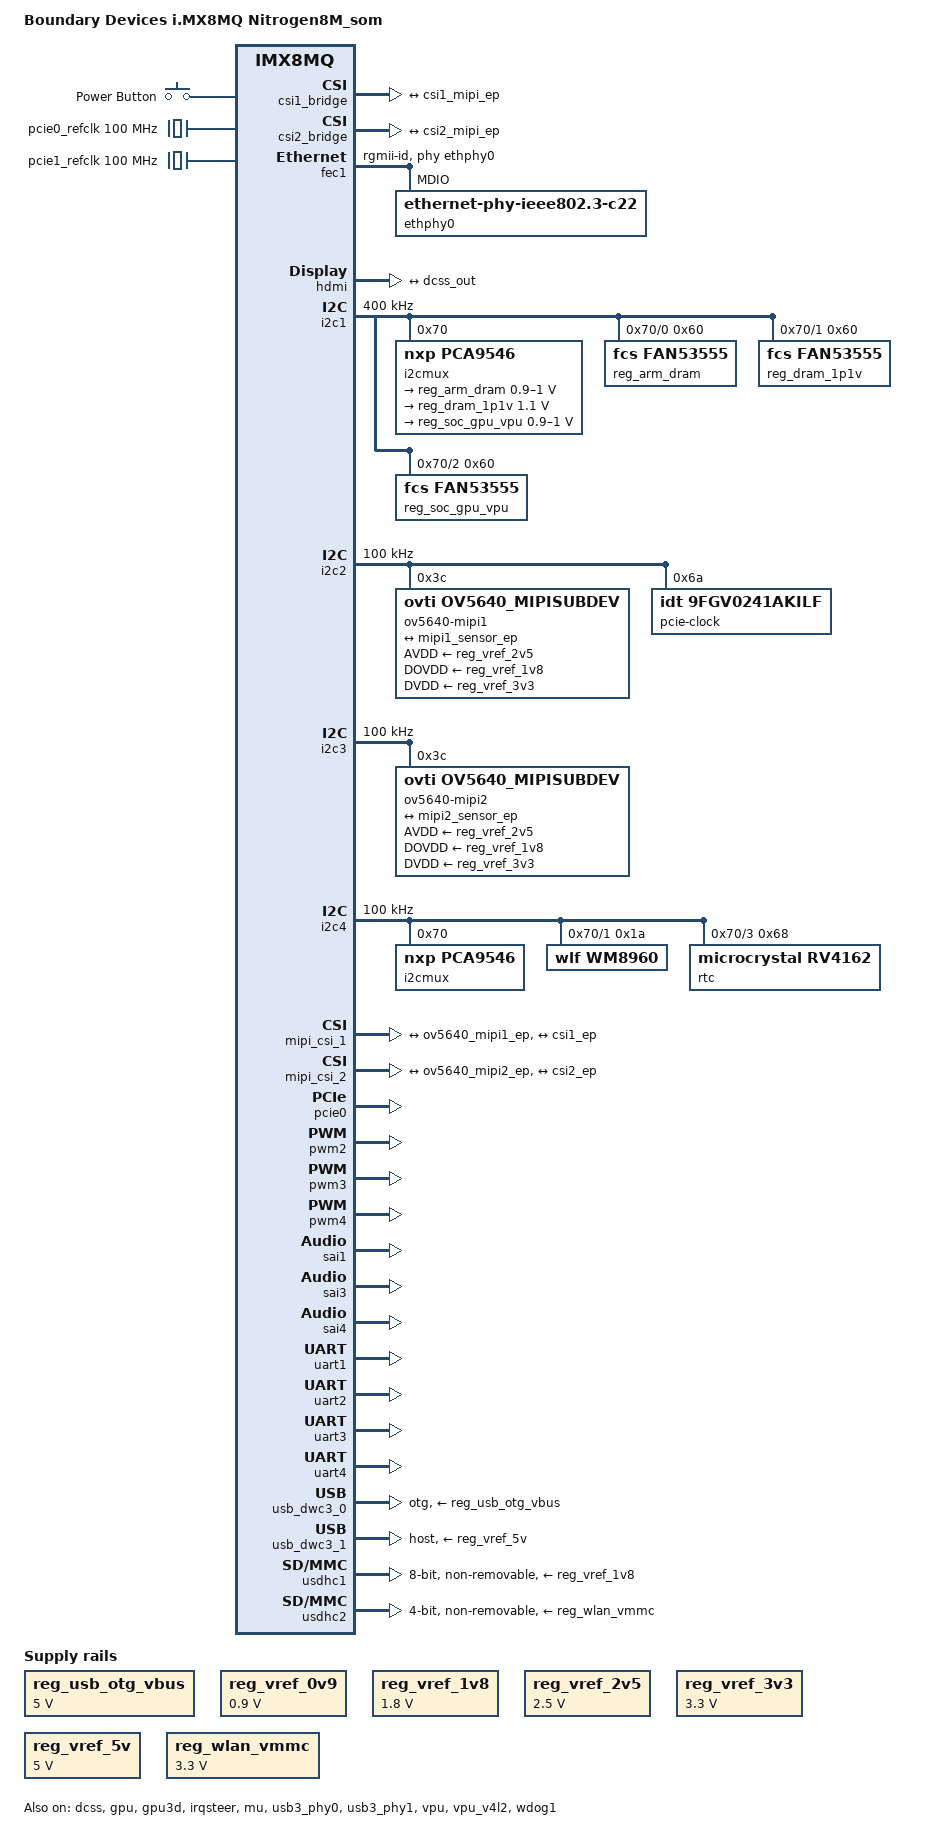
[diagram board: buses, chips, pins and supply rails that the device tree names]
// SPDX-License-Identifier: (GPL-2.0+ OR MIT)
/*
 * Copyright 2018 Boundary Devices
 */

/dts-v1/;

#include "imx8mq.dtsi"

&iomuxc {
	pinctrl-names = "default";
	pinctrl-0 = <&pinctrl_hog>;

	pinctrl_bt_rfkill: bt-rfkillgrp {
		fsl,pins = <
#define GP_BT_RFKILL_RESET	<&gpio3 19 GPIO_ACTIVE_LOW>
			MX8MQ_IOMUXC_SAI5_RXFS_GPIO3_IO19		0x19
		>;
	};

	pinctrl_ecspi2: ecspi2grp {
		fsl,pins = <
			/* unused on our carrier */
#define GP_ECSPI2_CS0	<&gpio5 13 GPIO_ACTIVE_LOW>
			MX8MQ_IOMUXC_ECSPI2_SS0_GPIO5_IO13		0x19	/* Pin 89 */
			MX8MQ_IOMUXC_ECSPI2_MOSI_ECSPI2_MOSI		0x19	/* Pin 91 */
			MX8MQ_IOMUXC_ECSPI2_MISO_ECSPI2_MISO		0x19	/* Pin 93 */
			MX8MQ_IOMUXC_ECSPI2_SCLK_ECSPI2_SCLK		0x19	/* Pin 97 */
		>;
	};

	pinctrl_fec1: fec1grp {
		fsl,pins = <
			MX8MQ_IOMUXC_ENET_MDC_ENET1_MDC			0x3
			MX8MQ_IOMUXC_ENET_MDIO_ENET1_MDIO		0x23
			MX8MQ_IOMUXC_ENET_TX_CTL_ENET1_RGMII_TX_CTL	0x1f
			MX8MQ_IOMUXC_ENET_TXC_ENET1_RGMII_TXC		0x1f
			MX8MQ_IOMUXC_ENET_TD0_ENET1_RGMII_TD0		0x1f
			MX8MQ_IOMUXC_ENET_TD1_ENET1_RGMII_TD1		0x1f
			MX8MQ_IOMUXC_ENET_TD2_ENET1_RGMII_TD2		0x1f
			MX8MQ_IOMUXC_ENET_TD3_ENET1_RGMII_TD3		0x1f
			MX8MQ_IOMUXC_ENET_RX_CTL_ENET1_RGMII_RX_CTL	0x91
			MX8MQ_IOMUXC_ENET_RXC_ENET1_RGMII_RXC		0x91
			MX8MQ_IOMUXC_ENET_RD0_ENET1_RGMII_RD0		0x91
			MX8MQ_IOMUXC_ENET_RD1_ENET1_RGMII_RD1		0x91
			MX8MQ_IOMUXC_ENET_RD2_ENET1_RGMII_RD2		0x91
			MX8MQ_IOMUXC_ENET_RD3_ENET1_RGMII_RD3		0x91
#define GP_FEC1_RESET	<&gpio1 9 GPIO_ACTIVE_LOW>
			MX8MQ_IOMUXC_GPIO1_IO09_GPIO1_IO9		0x19
#define GPIRQ_FEC1_PHY	<&gpio1 11 IRQ_TYPE_LEVEL_LOW>
			MX8MQ_IOMUXC_GPIO1_IO11_GPIO1_IO11		0x59
		>;
	};

	pinctrl_gpio_keys: gpio-keysgrp {
		fsl,pins = <
#define GP_GPIOKEY_POWER	<&gpio1 7 GPIO_ACTIVE_LOW>
			MX8MQ_IOMUXC_GPIO1_IO07_GPIO1_IO7		0x19	/* Pin 139 */
		>;
	};

	pinctrl_hog: hoggrp {
		fsl,pins = <
			/* J1 connector, odd */
			MX8MQ_IOMUXC_GPIO1_IO10_GPIO1_IO10		0x19	/* Pin 105 */
			MX8MQ_IOMUXC_GPIO1_IO05_GPIO1_IO5		0x19	/* Pin 143 */
			MX8MQ_IOMUXC_GPIO1_IO03_GPIO1_IO3		0x19	/* Pin 145 */
			MX8MQ_IOMUXC_NAND_CE3_B_GPIO3_IO4		0x19	/* Pin 149 */
			MX8MQ_IOMUXC_NAND_READY_B_GPIO3_IO16		0x19	/* Pin 153 */
			MX8MQ_IOMUXC_NAND_DATA05_GPIO3_IO11		0x19	/* Pin 155 */
			MX8MQ_IOMUXC_NAND_WP_B_GPIO3_IO18		0x19	/* Pin 157 */

			/* J1 connector, even */
			MX8MQ_IOMUXC_NAND_DATA04_GPIO3_IO10		0x19	/* Pin 82 */
			MX8MQ_IOMUXC_NAND_DATA03_GPIO3_IO9		0x19	/* Pin 84 */
			MX8MQ_IOMUXC_NAND_DATA02_GPIO3_IO8		0x19	/* Pin 86 */
			MX8MQ_IOMUXC_NAND_DATA01_GPIO3_IO7		0x19	/* Pin 88 */
			MX8MQ_IOMUXC_NAND_DATA00_GPIO3_IO6		0x19	/* Pin 90 */
			MX8MQ_IOMUXC_NAND_CE0_B_GPIO3_IO1		0x19	/* Pin 92 */
			MX8MQ_IOMUXC_NAND_ALE_GPIO3_IO0			0x19	/* Pin 96 */
			MX8MQ_IOMUXC_SAI1_TXD1_GPIO4_IO13		0x19	/* Pin 132 */
			MX8MQ_IOMUXC_SAI1_TXD2_GPIO4_IO14		0x19	/* Pin 134 */
			MX8MQ_IOMUXC_SAI1_TXD3_GPIO4_IO15		0x19	/* Pin 136 */
			MX8MQ_IOMUXC_SAI1_TXD4_GPIO4_IO16		0x19	/* Pin 138 */
			MX8MQ_IOMUXC_SAI1_TXD5_GPIO4_IO17		0x19	/* Pin 140 */
			MX8MQ_IOMUXC_SAI1_TXD6_GPIO4_IO18		0x19	/* Pin 142 */
			MX8MQ_IOMUXC_SAI1_TXD7_GPIO4_IO19		0x19	/* Pin 144 */
			MX8MQ_IOMUXC_SAI1_RXD1_GPIO4_IO3		0x19	/* Pin 146 */
			MX8MQ_IOMUXC_SAI1_RXD2_GPIO4_IO4		0x19	/* Pin 148 */
			MX8MQ_IOMUXC_SAI1_RXD3_GPIO4_IO5		0x19	/* Pin 150 */
			MX8MQ_IOMUXC_SAI1_RXD4_GPIO4_IO6		0x19	/* Pin 152 */
			MX8MQ_IOMUXC_SAI1_RXD5_GPIO4_IO7		0x19	/* Pin 154 */
			MX8MQ_IOMUXC_SAI1_RXD6_GPIO4_IO8		0x19	/* Pin 156 */
			MX8MQ_IOMUXC_SAI1_RXD7_GPIO4_IO9		0x19	/* Pin 158 */
			MX8MQ_IOMUXC_SAI1_RXC_GPIO4_IO1			0x19	/* Pin 160 */
			MX8MQ_IOMUXC_SAI1_RXFS_GPIO4_IO0		0x19	/* Pin 162 */
			MX8MQ_IOMUXC_SAI3_RXFS_GPIO4_IO28		0x19	/* Pin 198 */
			MX8MQ_IOMUXC_SAI3_RXC_GPIO4_IO29		0x19	/* Pin 200 */

			/* J13 Pin 2, BT_FUNC5 (TiWI only) */
			MX8MQ_IOMUXC_SAI5_RXD2_GPIO3_IO23		0xd6
			/* J13 Pin 4, WL_IRQ, not needed for Silex */
			MX8MQ_IOMUXC_SAI5_RXD0_GPIO3_IO21		0xd6
			/* J13 pin 9, SD2_CD */
			MX8MQ_IOMUXC_SD2_CD_B_GPIO2_IO12		0x41
			/* J13 Pin 41, BT_CLK_REQ */
			MX8MQ_IOMUXC_SAI5_RXD1_GPIO3_IO22		0xd6
			/* J13 Pin 42, BT_HOST_WAKE */
			MX8MQ_IOMUXC_SAI5_MCLK_GPIO3_IO25		0xd6
			MX8MQ_IOMUXC_SPDIF_EXT_CLK_GPIO5_IO5		0x19	/* TP79 */
			MX8MQ_IOMUXC_GPIO1_IO08_GPIO1_IO8		0x49	/* TP80 */

			/* Clock for both CSI1 and CSI2 */
			MX8MQ_IOMUXC_GPIO1_IO15_CCMSRCGPCMIX_CLKO2	0x07
		>;
	};

	pinctrl_i2c1: i2c1grp {
		fsl,pins = <
			MX8MQ_IOMUXC_I2C1_SCL_I2C1_SCL			0x4000007f
			MX8MQ_IOMUXC_I2C1_SDA_I2C1_SDA			0x4000007f
		>;
	};

	pinctrl_i2c1_1: i2c1_1grp {
		fsl,pins = <
#define GP_I2C1_SCL	<&gpio5 14 GPIO_OPEN_DRAIN>
			MX8MQ_IOMUXC_I2C1_SCL_GPIO5_IO14		0x4000007f
#define GP_I2C1_SDA	<&gpio5 15 GPIO_OPEN_DRAIN>
			MX8MQ_IOMUXC_I2C1_SDA_GPIO5_IO15		0x4000007f
		>;
	};

	pinctrl_i2c1_pca9546: i2c1-pca9546grp {
		fsl,pins = <
#define GP_I2C1_PCA9546_RESET	<&gpio1 4 GPIO_ACTIVE_LOW>
			MX8MQ_IOMUXC_GPIO1_IO04_GPIO1_IO4		0x46
		>;
	};

	pinctrl_i2c1d_gt911: i2c1d-gt911grp {
		fsl,pins = <
#define GPIRQ_GT911 		<&gpio3 12 IRQ_TYPE_LEVEL_HIGH>
#define GP_GT911_IRQ 		<&gpio3 12 GPIO_ACTIVE_HIGH>
			MX8MQ_IOMUXC_NAND_DATA06_GPIO3_IO12		0xd6
			/* driver writes levels, instead of active/inactive */
#define GP_GT911_RESET		<&gpio3 13 GPIO_ACTIVE_HIGH>
			MX8MQ_IOMUXC_NAND_DATA07_GPIO3_IO13		0x49
		>;
	};

	pinctrl_i2c1d_ft5x06: i2c1d-ft5x06grp {
		fsl,pins = <
#define GPIRQ_I2C1D_FT5X06	<&gpio3 12 IRQ_TYPE_EDGE_FALLING>
#define GP_I2C1D_FT5X06_WAKE	<&gpio3 12 GPIO_ACTIVE_LOW>
			MX8MQ_IOMUXC_NAND_DATA06_GPIO3_IO12		0x49
#define GP_I2C1D_FT5X06_RESET	<&gpio3 13 GPIO_ACTIVE_LOW>
			MX8MQ_IOMUXC_NAND_DATA07_GPIO3_IO13		0x49
		>;
	};

	pinctrl_i2c1d_sn65dsi83: i2c1d-sn65dsi83grp {
		fsl,pins = <
#define GPIRQ_I2C1D_SN65DSI83	<&gpio1 1 IRQ_TYPE_LEVEL_HIGH>
			MX8MQ_IOMUXC_GPIO1_IO01_GPIO1_IO1		0x04
#define GP_I2C1D_SN65DSI83_EN	<&gpio3 15 GPIO_ACTIVE_HIGH>
			MX8MQ_IOMUXC_NAND_RE_B_GPIO3_IO15		0x06
		>;
	};

	pinctrl_i2c1d_st1633: i2c1d-st1633grp {
		fsl,pins = <
#define GPIRQ_ST1633 		<&gpio3 12 IRQ_TYPE_EDGE_FALLING>
#define GP_ST1633_IRQ 		<&gpio3 12 GPIO_ACTIVE_LOW>
			MX8MQ_IOMUXC_NAND_DATA06_GPIO3_IO12		0xd6
#define GP_ST1633_RESET		<&gpio3 13 GPIO_ACTIVE_LOW>
			MX8MQ_IOMUXC_NAND_DATA07_GPIO3_IO13		0x49
		>;
	};

	pinctrl_i2c2: i2c2grp {
		fsl,pins = <
			MX8MQ_IOMUXC_I2C2_SCL_I2C2_SCL			0x4000007f
			MX8MQ_IOMUXC_I2C2_SDA_I2C2_SDA			0x4000007f
		>;
	};

	pinctrl_i2c2_1: i2c2_1grp {
		fsl,pins = <
#define GP_I2C2_SCL	<&gpio5 16 GPIO_OPEN_DRAIN>
			MX8MQ_IOMUXC_I2C2_SCL_GPIO5_IO16		0x4000007f
#define GP_I2C2_SDA	<&gpio5 17 GPIO_OPEN_DRAIN>
			MX8MQ_IOMUXC_I2C2_SDA_GPIO5_IO17		0x4000007f
		>;
	};

	pinctrl_i2c2_csi1: i2c2-csi1grp {
		fsl,pins = <
#define GP_CSI1_MIPI_PWDN	<&gpio3 3 GPIO_ACTIVE_HIGH>
			MX8MQ_IOMUXC_NAND_CE2_B_GPIO3_IO3		0x61
#define GP_CSI1_MIPI_RESET	<&gpio3 17 GPIO_ACTIVE_LOW>
			MX8MQ_IOMUXC_NAND_WE_B_GPIO3_IO17		0x61
		>;
	};

	pinctrl_i2c3: i2c3grp {
		fsl,pins = <
			MX8MQ_IOMUXC_I2C3_SCL_I2C3_SCL			0x4000007f
			MX8MQ_IOMUXC_I2C3_SDA_I2C3_SDA			0x4000007f
		>;
	};

	pinctrl_i2c3_1: i2c3_1grp {
		fsl,pins = <
#define GP_I2C3_SCL	<&gpio5 18 GPIO_OPEN_DRAIN>
			MX8MQ_IOMUXC_I2C3_SCL_GPIO5_IO18		0x4000007f
#define GP_I2C3_SDA	<&gpio5 19 GPIO_OPEN_DRAIN>
			MX8MQ_IOMUXC_I2C3_SDA_GPIO5_IO19		0x4000007f
		>;
	};

	pinctrl_i2c3_csi2: i2c3-csi2grp {
		fsl,pins = <
#define GP_CSI2_MIPI_PWDN	<&gpio3 2 GPIO_ACTIVE_HIGH>
			MX8MQ_IOMUXC_NAND_CE1_B_GPIO3_IO2		0x61
#define GP_CSI2_MIPI_RESET	<&gpio2 19 GPIO_ACTIVE_LOW>
			MX8MQ_IOMUXC_SD2_RESET_B_GPIO2_IO19		0x61
		>;
	};

	pinctrl_i2c4: i2c4grp {
		fsl,pins = <
			MX8MQ_IOMUXC_I2C4_SCL_I2C4_SCL			0x4000007f
			MX8MQ_IOMUXC_I2C4_SDA_I2C4_SDA			0x4000007f
		>;
	};

	pinctrl_i2c4_1: i2c4_1grp {
		fsl,pins = <
#define GP_I2C4_SCL	<&gpio5 20 GPIO_OPEN_DRAIN>
			MX8MQ_IOMUXC_I2C4_SCL_GPIO5_IO20		0x4000007f
#define GP_I2C4_SDA	<&gpio5 21 GPIO_OPEN_DRAIN>
			MX8MQ_IOMUXC_I2C4_SDA_GPIO5_IO21		0x4000007f
		>;
	};

	pinctrl_i2c4_pca9546: i2c4-pca9546grp {
		fsl,pins = <
#define GP_I2C4_PCA9546_RESET	<&gpio3 5 GPIO_ACTIVE_LOW>
			MX8MQ_IOMUXC_NAND_CLE_GPIO3_IO5			0x46	/* Pin 151 */
		>;
	};

	pinctrl_i2c4b_wm8960: i2c4b-wm8960grp {
		fsl,pins = <
#define GP_WM8960_HP_DET		<&gpio3 14 GPIO_ACTIVE_HIGH>
			MX8MQ_IOMUXC_NAND_DQS_GPIO3_IO14		0x19	/* Pin 53 */
		>;
	};

	pinctrl_i2c4d_rv4162: i2c4d-rv4162grp {
		fsl,pins = <
#define GPIRQ_RV4162		<&gpio1 6 IRQ_TYPE_LEVEL_LOW>
			MX8MQ_IOMUXC_GPIO1_IO06_GPIO1_IO6		0x49
		>;
	};

	pinctrl_mipi_com50h5n03ulc: mipi-com50h5n03ulcgrp {
		fsl,pins = <
#define GP_MIPI_RESET	<&gpio3 15 GPIO_ACTIVE_LOW>
			MX8MQ_IOMUXC_NAND_RE_B_GPIO3_IO15		0x16
		>;
	};

	pinctrl_mipi_lcm_jm430: mipi-lcm-jm430grp {
		fsl,pins = <
#define GP_TC358762_EN	<&gpio3 15 GPIO_ACTIVE_HIGH>
			MX8MQ_IOMUXC_NAND_RE_B_GPIO3_IO15		0x16
#define GP_JM430_DISPLAY_EN	<&gpio1 1 GPIO_ACTIVE_HIGH>
			MX8MQ_IOMUXC_GPIO1_IO01_GPIO1_IO1		0x06
		>;
	};

	pinctrl_mipi_ltk0680ytmdb: mipi-ltk0680ytmdbgrp {
		fsl,pins = <
#define GP_MIPI_RESET	<&gpio3 15 GPIO_ACTIVE_LOW>
			MX8MQ_IOMUXC_NAND_RE_B_GPIO3_IO15		0x16
		>;
	};

	pinctrl_mipi_ltk080a60a004t: mipi-ltk080a60a004tgrp {
		fsl,pins = <
#define GP_LTK08_MIPI_EN	<&gpio1 1 GPIO_ACTIVE_HIGH>
			MX8MQ_IOMUXC_GPIO1_IO01_GPIO1_IO1		0x16
		>;
	};

	pinctrl_pcie0: pcie0grp {
		fsl,pins = <
#define GP_PCIE0_RESET		<&gpio5 7 GPIO_ACTIVE_LOW>
			MX8MQ_IOMUXC_ECSPI1_MOSI_GPIO5_IO7		0x16
#define GP_PCIE0_DISABLE	<&gpio5 6 GPIO_ACTIVE_LOW>
			MX8MQ_IOMUXC_ECSPI1_SCLK_GPIO5_IO6		0x16
		>;
	};

	pinctrl_pwm2: pwm2grp {
		fsl,pins = <
			MX8MQ_IOMUXC_SPDIF_RX_PWM2_OUT			0x16
		>;
	};

	pinctrl_pwm3: pwm3grp {
		fsl,pins = <
			MX8MQ_IOMUXC_SPDIF_TX_PWM3_OUT			0x16
		>;
	};

	pinctrl_pwm4: pwm4grp {
		fsl,pins = <
			MX8MQ_IOMUXC_SAI3_MCLK_PWM4_OUT			0x16
		>;
	};

	pinctrl_reg_arm_dram: reg-arm-dram {
		fsl,pins = <
#define GP_ARM_DRAM_VSEL	<&gpio3 24 GPIO_ACTIVE_HIGH>
			MX8MQ_IOMUXC_SAI5_RXD3_GPIO3_IO24		0x16
		>;
	};

	pinctrl_reg_dram_1p1v: reg-dram-1p1v {
		fsl,pins = <
#define GP_DRAM_1P1_VSEL	<&gpio2 11 GPIO_ACTIVE_HIGH>
			MX8MQ_IOMUXC_SD1_STROBE_GPIO2_IO11		0x16
		>;
	};

	pinctrl_reg_soc_gpu_vpu: reg-soc-gpu-vpu {
		fsl,pins = <
#define GP_SOC_GPU_VPU_VSEL	<&gpio2 20 GPIO_ACTIVE_HIGH>
			MX8MQ_IOMUXC_SD2_WP_GPIO2_IO20			0x16
		>;
	};

	pinctrl_reg_usbotg_vbus: reg-usbotg-vbusgrp {
		fsl,pins = <
#define GP_REG_USB_OTG_VBUS	<&gpio1 12 GPIO_ACTIVE_HIGH>
			MX8MQ_IOMUXC_GPIO1_IO12_GPIO1_IO12		0x16
		>;
	};

	pinctrl_reg_wlan_vmmc: reg-wlan-vmmcgrp {
		fsl,pins = <
#define GP_REG_WLAN_VMMC	<&gpio3 20 GPIO_ACTIVE_HIGH>
			MX8MQ_IOMUXC_SAI5_RXC_GPIO3_IO20		0x16
		>;
	};

	pinctrl_sai1: sai1grp {
		fsl,pins = <
			/* wm8960 */
			MX8MQ_IOMUXC_SAI1_MCLK_SAI1_MCLK		0xd6
			MX8MQ_IOMUXC_SAI1_TXFS_SAI1_TX_SYNC		0xd6
			MX8MQ_IOMUXC_SAI1_TXC_SAI1_TX_BCLK		0xd6
			MX8MQ_IOMUXC_SAI1_TXD0_SAI1_TX_DATA0		0xd6
			MX8MQ_IOMUXC_SAI1_RXD0_SAI1_RX_DATA0		0xd6
		>;
	};

	pinctrl_sai2: sai2grp {
		fsl,pins = <
			/* our carrier, unused */
			MX8MQ_IOMUXC_SAI2_RXD0_SAI2_RX_DATA0		0xd6	/* Pin 166 */
			MX8MQ_IOMUXC_SAI2_RXFS_SAI2_RX_SYNC		0xd6	/* Pin 168 */
			MX8MQ_IOMUXC_SAI2_TXC_SAI2_TX_BCLK		0xd6	/* Pin 170 */
			MX8MQ_IOMUXC_SAI2_TXFS_SAI2_TX_SYNC		0xd6	/* Pin 172 */
			MX8MQ_IOMUXC_SAI2_RXC_SAI2_RX_BCLK		0xd6	/* Pin 174 */
			MX8MQ_IOMUXC_SAI2_MCLK_SAI2_MCLK		0xd6	/* Pin 176 */
			MX8MQ_IOMUXC_SAI2_TXD0_SAI2_TX_DATA0		0xd6	/* Pin 168 */
		>;
	};

	pinctrl_sai3: sai3grp {
		fsl,pins = <
			/* Bluetooth PCM */
			MX8MQ_IOMUXC_SAI3_TXFS_SAI3_TX_SYNC		0xd6
			MX8MQ_IOMUXC_SAI3_TXC_SAI3_TX_BCLK		0xd6
			MX8MQ_IOMUXC_SAI3_TXD_SAI3_TX_DATA0		0xd6
			MX8MQ_IOMUXC_SAI3_RXD_SAI3_RX_DATA0		0xd6
		>;
	};

	pinctrl_uart1: uart1grp {
		fsl,pins = <
			MX8MQ_IOMUXC_UART1_RXD_UART1_DCE_RX		0x45
			MX8MQ_IOMUXC_UART1_TXD_UART1_DCE_TX		0x45
		>;
	};

	pinctrl_uart2: uart2grp {
		fsl,pins = <
			MX8MQ_IOMUXC_UART2_RXD_UART2_DCE_RX		0x45
			MX8MQ_IOMUXC_UART2_TXD_UART2_DCE_TX		0x45
		>;
	};

	pinctrl_uart3: uart3grp {
		fsl,pins = <
			MX8MQ_IOMUXC_UART3_RXD_UART3_DCE_RX		0x45
			MX8MQ_IOMUXC_UART3_TXD_UART3_DCE_TX		0x45
			MX8MQ_IOMUXC_ECSPI1_SS0_UART3_DCE_RTS_B		0x45
			MX8MQ_IOMUXC_ECSPI1_MISO_UART3_DCE_CTS_B	0x45
		>;
	};

	pinctrl_uart4: uart4grp {
		fsl,pins = <
			MX8MQ_IOMUXC_UART4_RXD_UART4_DCE_RX		0x45
			MX8MQ_IOMUXC_UART4_TXD_UART4_DCE_TX		0x45
		>;
	};

	pinctrl_usb3_0: usb3-0grp {
		fsl,pins = <
			MX8MQ_IOMUXC_GPIO1_IO13_USB1_OTG_OC		0x16
		>;
	};

	pinctrl_usb3_1: usb3-1grp {
		fsl,pins = <
#define GP_USB3_1_HUB_RESET	<&gpio1 14 GPIO_ACTIVE_LOW>
			MX8MQ_IOMUXC_GPIO1_IO14_GPIO1_IO14		0x16
		>;
	};

	pinctrl_usdhc1: usdhc1grp {
		fsl,pins = <
			MX8MQ_IOMUXC_SD1_CLK_USDHC1_CLK			0x83
			MX8MQ_IOMUXC_SD1_CMD_USDHC1_CMD			0xc3
			MX8MQ_IOMUXC_SD1_DATA0_USDHC1_DATA0		0xc3
			MX8MQ_IOMUXC_SD1_DATA1_USDHC1_DATA1		0xc3
			MX8MQ_IOMUXC_SD1_DATA2_USDHC1_DATA2		0xc3
			MX8MQ_IOMUXC_SD1_DATA3_USDHC1_DATA3		0xc3
			MX8MQ_IOMUXC_SD1_DATA4_USDHC1_DATA4		0xc3
			MX8MQ_IOMUXC_SD1_DATA5_USDHC1_DATA5		0xc3
			MX8MQ_IOMUXC_SD1_DATA6_USDHC1_DATA6		0xc3
			MX8MQ_IOMUXC_SD1_DATA7_USDHC1_DATA7		0xc3
#if 0
			MX8MQ_IOMUXC_SD1_RESET_B_USDHC1_RESET_B		0xc1
#else
#define GP_EMMC_RESET		<&gpio2 10 GPIO_ACTIVE_LOW>
			MX8MQ_IOMUXC_SD1_RESET_B_GPIO2_IO10		0x41
#endif
		>;
	};

	pinctrl_usdhc1_100mhz: usdhc1grp100mhz {
		fsl,pins = <
			MX8MQ_IOMUXC_SD1_CLK_USDHC1_CLK			0x8d
			MX8MQ_IOMUXC_SD1_CMD_USDHC1_CMD			0xcd
			MX8MQ_IOMUXC_SD1_DATA0_USDHC1_DATA0		0xcd
			MX8MQ_IOMUXC_SD1_DATA1_USDHC1_DATA1		0xcd
			MX8MQ_IOMUXC_SD1_DATA2_USDHC1_DATA2		0xcd
			MX8MQ_IOMUXC_SD1_DATA3_USDHC1_DATA3		0xcd
			MX8MQ_IOMUXC_SD1_DATA4_USDHC1_DATA4		0xcd
			MX8MQ_IOMUXC_SD1_DATA5_USDHC1_DATA5		0xcd
			MX8MQ_IOMUXC_SD1_DATA6_USDHC1_DATA6		0xcd
			MX8MQ_IOMUXC_SD1_DATA7_USDHC1_DATA7		0xcd
		>;
	};

	pinctrl_usdhc1_200mhz: usdhc1grp200mhz {
		fsl,pins = <
			MX8MQ_IOMUXC_SD1_CLK_USDHC1_CLK			0x9f
			MX8MQ_IOMUXC_SD1_CMD_USDHC1_CMD			0xdf
			MX8MQ_IOMUXC_SD1_DATA0_USDHC1_DATA0		0xdf
			MX8MQ_IOMUXC_SD1_DATA1_USDHC1_DATA1		0xdf
			MX8MQ_IOMUXC_SD1_DATA2_USDHC1_DATA2		0xdf
			MX8MQ_IOMUXC_SD1_DATA3_USDHC1_DATA3		0xdf
			MX8MQ_IOMUXC_SD1_DATA4_USDHC1_DATA4		0xdf
			MX8MQ_IOMUXC_SD1_DATA5_USDHC1_DATA5		0xdf
			MX8MQ_IOMUXC_SD1_DATA6_USDHC1_DATA6		0xdf
			MX8MQ_IOMUXC_SD1_DATA7_USDHC1_DATA7		0xdf
		>;
	};

	pinctrl_usdhc2: usdhc2grp {
		fsl,pins = <
			MX8MQ_IOMUXC_SD2_CLK_USDHC2_CLK			0x03
			MX8MQ_IOMUXC_SD2_CMD_USDHC2_CMD			0xc3
			MX8MQ_IOMUXC_SD2_DATA0_USDHC2_DATA0		0xc3
			MX8MQ_IOMUXC_SD2_DATA1_USDHC2_DATA1		0xc3
			MX8MQ_IOMUXC_SD2_DATA2_USDHC2_DATA2		0xc3
			MX8MQ_IOMUXC_SD2_DATA3_USDHC2_DATA3		0xc3
			/* Bluetooth slow clock */
			MX8MQ_IOMUXC_GPIO1_IO00_ANAMIX_REF_CLK_32K	0x03
		>;
	};

	pinctrl_usdhc2_100mhz: usdhc2grp100mhz {
		fsl,pins = <
			MX8MQ_IOMUXC_SD2_CLK_USDHC2_CLK			0x0d
			MX8MQ_IOMUXC_SD2_CMD_USDHC2_CMD			0xcd
			MX8MQ_IOMUXC_SD2_DATA0_USDHC2_DATA0		0xcd
			MX8MQ_IOMUXC_SD2_DATA1_USDHC2_DATA1		0xcd
			MX8MQ_IOMUXC_SD2_DATA2_USDHC2_DATA2		0xcd
			MX8MQ_IOMUXC_SD2_DATA3_USDHC2_DATA3		0xcd
		>;
	};

	pinctrl_usdhc2_200mhz: usdhc2grp200mhz {
		fsl,pins = <
			MX8MQ_IOMUXC_SD2_CLK_USDHC2_CLK			0x1e
			MX8MQ_IOMUXC_SD2_CMD_USDHC2_CMD			0xce
			MX8MQ_IOMUXC_SD2_DATA0_USDHC2_DATA0		0xce
			MX8MQ_IOMUXC_SD2_DATA1_USDHC2_DATA1		0xce
			MX8MQ_IOMUXC_SD2_DATA2_USDHC2_DATA2		0xce
			MX8MQ_IOMUXC_SD2_DATA3_USDHC2_DATA3		0xce
		>;
	};

	pinctrl_wdog: wdoggrp {
		fsl,pins = <
			MX8MQ_IOMUXC_GPIO1_IO02_WDOG1_WDOG_B		0xc6
		>;
	};
};

#include "panel-com50h5n03ulc.dtsi"
#include "panel-lcm-jm430.dtsi"
#include "panel-ltk0680ytmdb.dtsi"
#include "panel-ltk080a60a004t.dtsi"
#include "panel-m101nwwb.dtsi"

/ {
	model = "Boundary Devices i.MX8MQ Nitrogen8M_som";
	compatible = "boundary,imx8mq-nitrogen8m_som", "fsl,imx8mq";

	aliases {
		backlight_mipi = &backlight_mipi;
		dcss = &dcss;
		fb_mipi = &fb_mipi;
		fb_hdmi = &hdmi;
		lcdif = &lcdif;
		mipi = &fb_mipi;
		mipi_dsi = &mipi_dsi;
		mipi_dsi_bridge = &mipi_dsi;
		mipi_dsi_phy = &dphy;
		mipi_to_lvds = &mipi_to_lvds;
		pwm_mipi = &pwm3;
		sound_hdmi = &sound_hdmi;
		t_mipi = &t_mipi;
		ts_ft5x06 = &ts_ft5x06;
		ts_goodix = &ts_goodix;
		ts_st1633i = &ts_st1633i;
	};

	backlight_mipi: backlight-mipi {
		brightness-levels = <0 1 2 3 4 5 6 7 8 9 10>;
		compatible = "pwm-backlight";
		default-brightness-level = <8>;
		display = <&lcdif>;
		pwms = <&pwm3 0 30000>;		/* 33.3 Khz */
		status = "disabled";
	};

	bt-rfkill {
		compatible = "net,rfkill-gpio";
		pinctrl-names = "default";
		pinctrl-0 = <&pinctrl_bt_rfkill>;
		name = "bt-rfkill";
		type = <2>; /* Bluetooth */
		reset-gpios = GP_BT_RFKILL_RESET;
		status = "okay";
	};

	gpio-keys {
		compatible = "gpio-keys";
		pinctrl-names = "default";
		pinctrl-0 = <&pinctrl_gpio_keys>;

		power {
			label = "Power Button";
			gpios = GP_GPIOKEY_POWER;
			linux,code = <KEY_POWER>;
			gpio-key,wakeup;
		};
	};

	pcie0_refclk: pcie0-refclk {
		compatible = "fixed-clock";
		#clock-cells = <0>;
		clock-frequency = <100000000>;
	};

	pcie1_refclk: pcie1-refclk {
		compatible = "fixed-clock";
		#clock-cells = <0>;
		clock-frequency = <100000000>;
	};

	reg_usb_otg_vbus: regulator-usb-otg-vbus {
		compatible = "regulator-fixed";
		pinctrl-names = "default";
		pinctrl-0 = <&pinctrl_reg_usbotg_vbus>;
		regulator-name = "usb_otg_vbus";
		regulator-min-microvolt = <5000000>;
		regulator-max-microvolt = <5000000>;
		gpio = GP_REG_USB_OTG_VBUS;
		enable-active-high;
	};

	reg_vref_0v9: regulator-vref-0v9 {
		compatible = "regulator-fixed";
		regulator-name = "vref-0v9";
		regulator-min-microvolt = <900000>;
		regulator-max-microvolt = <900000>;
	};

	reg_vref_1v8: regulator-vref-1v8 {
		compatible = "regulator-fixed";
		regulator-name = "vref-1v8";
		regulator-min-microvolt = <1800000>;
		regulator-max-microvolt = <1800000>;
	};

	reg_vref_2v5: regulator-vref-2v5 {
		compatible = "regulator-fixed";
		regulator-name = "vref-2v5";
		regulator-min-microvolt = <2500000>;
		regulator-max-microvolt = <2500000>;
	};

	reg_vref_3v3: regulator-vref-3v3 {
		compatible = "regulator-fixed";
		regulator-name = "vref-3v3";
		regulator-min-microvolt = <3300000>;
		regulator-max-microvolt = <3300000>;
	};

	reg_vref_5v: regulator-vref-5v {
		compatible = "regulator-fixed";
		regulator-name = "vref-5v";
		regulator-min-microvolt = <5000000>;
		regulator-max-microvolt = <5000000>;
	};

	reg_wlan_vmmc: regulator-wlan-vmmc {
		compatible = "regulator-fixed";
		pinctrl-names = "default";
		pinctrl-0 = <&pinctrl_reg_wlan_vmmc>;
		regulator-name = "reg_wlan_vmmc";
		regulator-min-microvolt = <3300000>;
		regulator-max-microvolt = <3300000>;
		gpio = GP_REG_WLAN_VMMC;
		startup-delay-us = <70000>;
		enable-active-high;
	};

	resmem: reserved-memory {
		#address-cells = <2>;
		#size-cells = <2>;
		ranges;

		/* global autoconfigured region for contiguous allocations */
		linux,cma {
			compatible = "shared-dma-pool";
			reusable;
			size = <0 0x3c000000>;
			alloc-ranges = <0 0x40000000 0 0x40000000>;
			linux,cma-default;
		};
	};

	sound-wm8960 {
		compatible = "fsl,imx-audio-wm8960";
		model = "wm8960-audio";
		cpu-dai = <&sai1>;
		codec-master;
		audio-codec = <&wm8960>;
		audio-routing =
			"Headphone Jack", "HP_L",
			"Headphone Jack", "HP_R",
			"Ext Spk", "SPK_LP",
			"Ext Spk", "SPK_LN",
			"Ext Spk", "SPK_RP",
			"Ext Spk", "SPK_RN",
			"LINPUT1", "Main MIC",
			"Main MIC", "MICB";
		/* JD2: hp detect high for headphone*/
		hp-det = <2 0>;
		hp-det-gpios = GP_WM8960_HP_DET;
	};

	sound_hdmi: sound-hdmi {
		compatible = "fsl,imx-audio-hdmi";
		model = "imx-audio-hdmi";
		audio-cpu = <&sai4>;
		constraint-rate = <32000 44100 48000 96000 192000>;
		protocol = <1>;
		hdmi-out;
		status = "okay";
	};
};

&a53_opp_table {
	opp-800000000 {
		opp-microvolt = <1000000>;
	};

	opp-1000000000 {
		opp-microvolt = <1000000>;
	};
};

&A53_0 {
	cpu-supply = <&reg_arm_dram>;
};

&A53_1 {
	cpu-supply = <&reg_arm_dram>;
};

&A53_2 {
	cpu-supply = <&reg_arm_dram>;
};

&A53_3 {
	cpu-supply = <&reg_arm_dram>;
};

&csi1_bridge {
	fsl,mipi-mode;
	fsl,two-8bit-sensor-mode;
	status = "okay";

	port {
		csi1_ep: endpoint {
			remote-endpoint = <&csi1_mipi_ep>;
		};
	};
};

&csi2_bridge {
	fsl,mipi-mode;
	fsl,two-8bit-sensor-mode;
	status = "okay";

	port {
		csi2_ep: endpoint {
			remote-endpoint = <&csi2_mipi_ep>;
		};
	};
};

&dcss {
	status = "okay";

	port {
		dcss_out: endpoint {
			remote-endpoint = <&hdmi_in>;
		};
	};
};

&ecspi2 {
	pinctrl-names = "default";
	pinctrl-0 = <&pinctrl_ecspi2>;
	fsl,spi-num-chipselects = <1>;
	cs-gpios = GP_ECSPI2_CS0;
	status = "disabled";
	#address-cells = <1>;
	#size-cells = <0>;

	spidev@0 {
		compatible = "spidev";
		spi-max-frequency = <2000000>;
		reg = <0>;
	};
};

&fec1 {
	pinctrl-names = "default";
	pinctrl-0 = <&pinctrl_fec1>;
#if 0
	phy-reset-gpios = GP_FEC1_RESET;
#endif
	phy-mode = "rgmii-id";
	phy-handle = <&ethphy0>;
	fsl,magic-packet;
	status = "okay";

	mdio {
		#address-cells = <1>;
		#size-cells = <0>;

		ethphy0: ethernet-phy {
			compatible = "ethernet-phy-ieee802.3-c22";
			interrupts-extended = GPIRQ_FEC1_PHY;
			reg-mask = <0x90>;
		};
	};
};

&gpu {
	power-domains = <&pgc_gpu>;
	status = "okay";
};

&gpu3d {
	power-domains = <&pgc_gpu>;
	status = "okay";
};

&hdmi {
	compatible = "cdn,imx8mq-hdmi";
	lane-mapping = <0xe4>;
	status = "okay";

	port {
		hdmi_in: endpoint {
			remote-endpoint = <&dcss_out>;
		};
	};
};

&i2c1 {
	clock-frequency = <400000>;
	pinctrl-names = "default", "gpio";
	pinctrl-0 = <&pinctrl_i2c1>;
	pinctrl-1 = <&pinctrl_i2c1_1>;
	scl-gpios = GP_I2C1_SCL;
	sda-gpios = GP_I2C1_SDA;
	status = "okay";

	i2cmux@70 {
		compatible = "nxp,pca9546";
		pinctrl-names = "default";
		pinctrl-0 = <&pinctrl_i2c1_pca9546>;
		reg = <0x70>;
		reset-gpios = GP_I2C1_PCA9546_RESET;
		#address-cells = <1>;
		#size-cells = <0>;

		i2c1a: i2c1@0 {
			reg = <0>;
			#address-cells = <1>;
			#size-cells = <0>;
		};

		i2c1b: i2c1@1 {
			reg = <1>;
			#address-cells = <1>;
			#size-cells = <0>;
		};

		i2c1c: i2c1@2 {
			reg = <2>;
			#address-cells = <1>;
			#size-cells = <0>;
		};

		i2c1d: i2c1@3 {
			reg = <3>;
			#address-cells = <1>;
			#size-cells = <0>;
		};
	};
};

&i2c1a {
	reg_arm_dram: fan53555@60 {
		compatible = "fcs,fan53555";
		pinctrl-names = "default";
		pinctrl-0 = <&pinctrl_reg_arm_dram>;
		reg = <0x60>;
		regulator-min-microvolt =  <900000>;
		regulator-max-microvolt = <1000000>;
		regulator-always-on;
		vsel-gpios = GP_ARM_DRAM_VSEL;
	};
};

&i2c1b {
	reg_dram_1p1v: fan53555@60 {
		compatible = "fcs,fan53555";
		pinctrl-names = "default";
		pinctrl-0 = <&pinctrl_reg_dram_1p1v>;
		reg = <0x60>;
		regulator-min-microvolt = <1100000>;
		regulator-max-microvolt = <1100000>;
		regulator-always-on;
		vsel-gpios = GP_DRAM_1P1_VSEL;
	};
};

&i2c1c {
	reg_soc_gpu_vpu: fan53555@60 {
		compatible = "fcs,fan53555";
		pinctrl-names = "default";
		pinctrl-0 = <&pinctrl_reg_soc_gpu_vpu>;
		reg = <0x60>;
		regulator-min-microvolt =  <900000>;
		regulator-max-microvolt = <1000000>;
		regulator-always-on;
		fcs,suspend-voltage-selector = <1>;
		vsel-gpios = GP_SOC_GPU_VPU_VSEL;
	};
};

&i2c1d {
	ts_ft5x06: touchscreen@38 {
		compatible = "edt,ft5x06-ts";
		interrupts-extended = GPIRQ_I2C1D_FT5X06;
		pinctrl-names = "default";
		pinctrl-0 = <&pinctrl_i2c1d_ft5x06>;
		reg = <0x38>;
		reset-gpios = GP_I2C1D_FT5X06_RESET;
		status = "disabled";
		wakeup-gpios = GP_I2C1D_FT5X06_WAKE;
	};

	ts_goodix: touchscreen@5d {
		compatible = "goodix,gt9271";
		esd-recovery-timeout-ms = <2000>;
		interrupts-extended = GPIRQ_GT911;
		irq-gpios = GP_GT911_IRQ;
		pinctrl-names = "default";
		pinctrl-0 = <&pinctrl_i2c1d_gt911>;
		reg = <0x5d>;
		reset-gpios = GP_GT911_RESET;
		status = "disabled";
	};

	ts_st1633i: touchscreen@55 {
		compatible = "sitronix,st1633i";
		interrupts-extended = GPIRQ_ST1633;
		/* pins used by touchscreen */
		pinctrl-names = "default";
		pinctrl-0 = <&pinctrl_i2c1d_st1633>;
		reg = <0x55>;
		reset-gpios = GP_ST1633_RESET;
		status = "disabled";
		wakeup-gpios = GP_ST1633_IRQ;
	};
};

&i2c2 {
	clock-frequency = <100000>;
	pinctrl-names = "default", "gpio";
	pinctrl-0 = <&pinctrl_i2c2>;
	pinctrl-1 = <&pinctrl_i2c2_1>;
	scl-gpios = GP_I2C2_SCL;
	sda-gpios = GP_I2C2_SDA;
	status = "okay";

	ov5640-mipi1@3c {
		AVDD-supply = <&reg_vref_2v5>;
		DOVDD-supply = <&reg_vref_1v8>;
		DVDD-supply = <&reg_vref_3v3>;
		assigned-clocks = <&clk IMX8MQ_CLK_CLKO2>;
		assigned-clock-parents = <&clk IMX8MQ_SYS2_PLL_200M>;
		assigned-clock-rates = <20000000>;
		clocks = <&clk IMX8MQ_CLK_CLKO2>;
		clock-names = "xclk";
		compatible = "ovti,ov5640_mipisubdev";
		pinctrl-names = "default";
		pinctrl-0 = <&pinctrl_i2c2_csi1>;
		powerdown-gpios = GP_CSI1_MIPI_PWDN;
		reg = <0x3c>;
		reset-gpios = GP_CSI1_MIPI_RESET;
		status = "okay";

		port {
			ov5640_mipi1_ep: endpoint {
				clock-lanes = <0>;
				data-lanes = <1 2>;
				remote-endpoint = <&mipi1_sensor_ep>;
			};
		};
	};

	pcie-clock@6a {
		compatible = "idt,9FGV0241AKILF";
		/* TODO */
		reg = <0x6a>;
	};
};

&i2c3 {
	clock-frequency = <100000>;
	pinctrl-names = "default", "gpio";
	pinctrl-0 = <&pinctrl_i2c3>;
	pinctrl-1 = <&pinctrl_i2c3_1>;
	scl-gpios = GP_I2C3_SCL;
	sda-gpios = GP_I2C3_SDA;
	status = "okay";

	ov5640-mipi2@3c {
		AVDD-supply = <&reg_vref_2v5>;
		DOVDD-supply = <&reg_vref_1v8>;
		DVDD-supply = <&reg_vref_3v3>;
		assigned-clocks = <&clk IMX8MQ_CLK_CLKO2>;
		assigned-clock-parents = <&clk IMX8MQ_SYS2_PLL_200M>;
		assigned-clock-rates = <20000000>;
		clocks = <&clk IMX8MQ_CLK_CLKO2>;
		clock-names = "xclk";
		compatible = "ovti,ov5640_mipisubdev";
		pinctrl-names = "default";
		pinctrl-0 = <&pinctrl_i2c3_csi2>;
		powerdown-gpios = GP_CSI2_MIPI_PWDN;
		reg = <0x3c>;
		reset-gpios = GP_CSI2_MIPI_RESET;
		status = "okay";

		port {
			ov5640_mipi2_ep: endpoint {
				clock-lanes = <0>;
				data-lanes = <1 2>;
				remote-endpoint = <&mipi2_sensor_ep>;
			};
		};
	};
};

&i2c4 {
	clock-frequency = <100000>;
	pinctrl-names = "default", "gpio";
	pinctrl-0 = <&pinctrl_i2c4>;
	pinctrl-1 = <&pinctrl_i2c4_1>;
	scl-gpios = GP_I2C4_SCL;
	sda-gpios = GP_I2C4_SDA;
	status = "okay";

	i2cmux@70 {
		compatible = "nxp,pca9546";
		pinctrl-names = "default";
		pinctrl-0 = <&pinctrl_i2c4_pca9546>;
		reg = <0x70>;
		reset-gpios = GP_I2C4_PCA9546_RESET;
		#address-cells = <1>;
		#size-cells = <0>;

		i2c4a: i2c4@0 {
			reg = <0>;
			#address-cells = <1>;
			#size-cells = <0>;
		};

		i2c4b: i2c4@1 {
			reg = <1>;
			#address-cells = <1>;
			#size-cells = <0>;
		};

		i2c4c: i2c4@2 {
			reg = <2>;
			#address-cells = <1>;
			#size-cells = <0>;
		};

		i2c4d: i2c4@3 {
			reg = <3>;
			#address-cells = <1>;
			#size-cells = <0>;
		};
	};
};

&i2c4a {
	/* pciei */
};

&i2c4b {
	wm8960: codec@1a {
		compatible = "wlf,wm8960";
		pinctrl-names = "default";
		pinctrl-0 = <&pinctrl_i2c4b_wm8960>;
		reg = <0x1a>;
		clocks = <&clk IMX8MQ_CLK_SAI1_ROOT>;
		clock-names = "mclk";
		wlf,shared-lrclk;
	};
};

&i2c4c {
	/* unused */
};

&i2c4d {
	rtc@68 {
		compatible = "microcrystal,rv4162";
		pinctrl-names = "default";
		pinctrl-0 = <&pinctrl_i2c4d_rv4162>;
		reg = <0x68>;
		interrupts-extended = GPIRQ_RV4162;
		wakeup-source;
	};
};

&irqsteer {
	status = "okay";
};

&lcdif {
	status = "disabled";
	assigned-clocks = <&clk IMX8MQ_CLK_LCDIF_PIXEL>,
			  <&clk IMX8MQ_VIDEO_PLL1_REF_SEL>;
	assigned-clock-parents = <&clk IMX8MQ_VIDEO_PLL1_OUT>,
				 <&clk IMX8MQ_CLK_25M>;
};

&mipi_csi_1 {
	#address-cells = <1>;
	#size-cells = <0>;
	status = "okay";
	port {
		mipi1_sensor_ep: endpoint@1 {
			remote-endpoint = <&ov5640_mipi1_ep>;
			data-lanes = <1 2>;
		};

		csi1_mipi_ep: endpoint@2 {
			remote-endpoint = <&csi1_ep>;
		};
	};
};

&mipi_csi_2 {
	#address-cells = <1>;
	#size-cells = <0>;
	status = "okay";
	port {
		mipi2_sensor_ep: endpoint@1 {
			remote-endpoint = <&ov5640_mipi2_ep>;
			data-lanes = <1 2>;
		};

		csi2_mipi_ep: endpoint@2 {
			remote-endpoint = <&csi2_ep>;
		};
	};
};

&mipi_dsi {
	/delete-property/ no_clk_reset;
	assigned-clocks = <&clk IMX8MQ_CLK_DSI_PHY_REF>,
			  <&clk IMX8MQ_CLK_DSI_CORE>,
			  <&clk IMX8MQ_CLK_DSI_AHB>,
			  <&clk IMX8MQ_VIDEO_PLL1_REF_SEL>,
			  <&clk IMX8MQ_CLK_DSI_IPG_DIV>;
	assigned-clock-parents = <&clk IMX8MQ_VIDEO_PLL1_OUT>,
				 <&clk IMX8MQ_SYS1_PLL_266M>,
				 <&clk IMX8MQ_SYS1_PLL_80M>,
				 <&clk IMX8MQ_CLK_25M>;
	assigned-clock-rates = <27000000>,
			       <266000000>,
			       <80000000>,
			       <0>,
			       <20000000>;
	status = "disabled";
	#address-cells = <1>;
	#size-cells = <0>;

	fb_mipi: panel@0 {
		backlight = <&backlight_mipi>;
		bits-per-color = <8>;
		bridge-de-active = <0>;
		bus-format = "rgb888";
		clocks = <&dphy 0>,
			<&clk IMX8MQ_CLK_LCDIF_PIXEL>;
		clock-names = "mipi_clk", "pixel_clock";
		compatible = "panel,common";
		delay-power-up = <2>;
		dsi-format = "rgb888";
		dsi-lanes = <4>;
		mode-skip-eot;
		mode-video;
		mode-video-burst;
		panel-height-mm = <136>;
		panel-width-mm = <217>;
		pinctrl-names = "sn65dsi83";
		pinctrl-0 = <&pinctrl_i2c1d_sn65dsi83>;
		power-supply = <&reg_vref_5v>;
		reg = <0>;
		sn65dsi83 = <&mipi_to_lvds>;
		spwg;

		display-timings {
			t_mipi: t-dsi-default {
				/* m101nwwb by default */
				clock-frequency = <70000000>;
				hactive = <1280>;
				vactive = <800>;
				hback-porch = <5>;
				hfront-porch = <123>;
				vback-porch = <3>;
				vfront-porch = <24>;
				hsync-len = <1>;
				vsync-len = <1>;
				hsync-active = <1>;
				vsync-active = <1>;
				de-active = <1>;
			};
		};

		mipi_to_lvds: mipi-to-lvds {
			alias = <&mipi_to_lvds>;
			enable-gpios = GP_I2C1D_SN65DSI83_EN;
			i2c-address = <0x2c>;
			i2c-bus = <&i2c1d>;
			interrupts-extended = GPIRQ_I2C1D_SN65DSI83;
			status = "disabled";
		};

		port {
			panel1_in: endpoint {
				remote-endpoint = <&mipi_dsi_out>;
			};
		};
	};

	ports {
		port@1 {
			reg = <1>;

			mipi_dsi_out: endpoint {
				remote-endpoint = <&panel1_in>;
			};
		};
	};
};

&mu {
	status = "okay";
};

&pcie0 {
	assigned-clocks = <&clk IMX8MQ_CLK_PCIE1_AUX>,
			  <&clk IMX8MQ_CLK_PCIE1_PHY>,
			  <&clk IMX8MQ_CLK_PCIE1_CTRL>;
	assigned-clock-parents = <&clk IMX8MQ_SYS2_PLL_50M>,
				 <&clk IMX8MQ_SYS2_PLL_100M>,
				 <&clk IMX8MQ_SYS2_PLL_250M>;
	assigned-clock-rates = <10000000>, <100000000>, <250000000>;
#if 1
	clocks = <&clk IMX8MQ_CLK_PCIE1_ROOT>,
		<&clk IMX8MQ_CLK_PCIE1_AUX>,
		<&clk IMX8MQ_CLK_PCIE1_PHY>,
		<&pcie0_refclk>,
		<&clk IMX8MQ_CLK_MON_CLK2_OUT>;
	clock-names = "pcie", "pcie_aux", "pcie_phy", "pcie_bus", "pcie_ext_src";
	ext_osc = <0>;
#else
	ext_osc = <1>;
#endif
	pinctrl-names = "default";
	pinctrl-0 = <&pinctrl_pcie0>;
	/* TODO check clock */
	disable-gpio = GP_PCIE0_DISABLE;
	reset-gpio = GP_PCIE0_RESET;
	status = "okay";
};

&pcie1 {
	assigned-clocks = <&clk IMX8MQ_CLK_PCIE2_AUX>,
			  <&clk IMX8MQ_CLK_PCIE2_PHY>,
			  <&clk IMX8MQ_CLK_PCIE2_CTRL>;
	assigned-clock-parents = <&clk IMX8MQ_SYS2_PLL_50M>,
				 <&clk IMX8MQ_SYS2_PLL_100M>,
				 <&clk IMX8MQ_SYS2_PLL_250M>;
	assigned-clock-rates = <10000000>, <100000000>, <250000000>;
	clocks = <&clk IMX8MQ_CLK_PCIE2_ROOT>,
		<&clk IMX8MQ_CLK_PCIE2_AUX>,
		<&clk IMX8MQ_CLK_PCIE2_PHY>,
		<&pcie1_refclk>;
	clock-names = "pcie", "pcie_aux", "pcie_phy", "pcie_bus";
	ext_osc = <1>;
	hard-wired;
	status = "disabled";
};

/delete-node/ &pgc_gpu;
/delete-node/ &pgc_vpu;
&pgc {
	pgc_gpuvpu: pgc-gpuvpu {
		#address-cells = <1>;
		#power-domain-cells = <0>;
		#size-cells = <0>;
		domain-name = "VPUGPU_PD";
		dvfs-supply = <&reg_soc_gpu_vpu>;
		idle-microvolt = <900000 837000 990000>;

		pgc_gpu: power-domain@5 {
			clocks = <&clk IMX8MQ_CLK_GPU_AXI>,
				 <&clk IMX8MQ_CLK_GPU_SHADER_DIV>,
				 <&clk IMX8MQ_CLK_GPU_ROOT>,
				 <&clk IMX8MQ_CLK_GPU_AHB>;
			reg = <IMX8M_POWER_DOMAIN_GPU>;
			operating-points-v2 = <&gpu_opp_table>;
			#power-domain-cells = <0>;
		};

		pgc_vpu: power-domain@6 {
			clocks = <&clk IMX8MQ_CLK_VPU_G1_ROOT>,
				 <&clk IMX8MQ_CLK_VPU_G2_ROOT>,
				 <&clk IMX8MQ_CLK_VPU_DEC_ROOT>;
			reg = <IMX8M_POWER_DOMAIN_VPU>;
			operating-points-v2 = <&vpu_opp_table_g1>,
					<&vpu_opp_table_g2>,
					<&vpu_opp_table_dec>;
			#power-domain-cells = <0>;
		};
	};
};

&pwm2 {
	pinctrl-names = "default";
	pinctrl-0 = <&pinctrl_pwm2>;
	status = "okay";
};

&pwm3 {
	pinctrl-names = "default";
	pinctrl-0 = <&pinctrl_pwm3>;
	status = "okay";
};

&pwm4 {
	pinctrl-names = "default";
	pinctrl-0 = <&pinctrl_pwm4>;
	status = "okay";
};

&sai1 {
	pinctrl-names = "default";
	pinctrl-0 = <&pinctrl_sai1>;
	assigned-clocks = <&clk IMX8MQ_AUDIO_PLL1>, <&clk IMX8MQ_CLK_SAI1>;
	assigned-clock-parents = <0>, <&clk IMX8MQ_AUDIO_PLL1_OUT>;
	assigned-clock-rates = <786432000>, <12288000>;
	status = "okay";
};

&sai2 {
	pinctrl-names = "default";
	pinctrl-0 = <&pinctrl_sai2>;
	status = "disabled";
};

&sai3 {
	pinctrl-names = "default";
	pinctrl-0 = <&pinctrl_sai3>;
	status = "okay";
};

&sai4 {
	assigned-clocks = <&clk IMX8MQ_AUDIO_PLL1>, <&clk IMX8MQ_AUDIO_PLL2>, <&clk IMX8MQ_CLK_SAI4>;
	assigned-clock-parents = <0>, <0>, <&clk IMX8MQ_AUDIO_PLL1_OUT>;
	assigned-clock-rates = <786432000>, <722534400>, <24576000>;
	clocks = <&clk IMX8MQ_CLK_SAI4_IPG>, <&clk IMX8MQ_CLK_DUMMY>,
		<&clk IMX8MQ_CLK_SAI4_ROOT>, <&clk IMX8MQ_CLK_DUMMY>,
		<&clk IMX8MQ_CLK_DUMMY>, <&clk IMX8MQ_AUDIO_PLL1_OUT>,
		<&clk IMX8MQ_AUDIO_PLL2_OUT>;
	clock-names = "bus", "mclk0", "mclk1", "mclk2", "mclk3", "pll8k", "pll11k";
	status = "okay";
};

&uart1 { /* console */
	pinctrl-names = "default";
	pinctrl-0 = <&pinctrl_uart1>;
	assigned-clocks = <&clk IMX8MQ_CLK_UART1>;
	assigned-clock-parents = <&clk IMX8MQ_CLK_25M>;
	status = "okay";
};

&uart2 {
	pinctrl-names = "default";
	pinctrl-0 = <&pinctrl_uart2>;
	assigned-clocks = <&clk IMX8MQ_CLK_UART2>;
	assigned-clock-parents = <&clk IMX8MQ_CLK_25M>;
	status = "okay";
};

&uart3 {
	pinctrl-names = "default";
	pinctrl-0 = <&pinctrl_uart3>;
	assigned-clocks = <&clk IMX8MQ_CLK_UART3>;
	assigned-clock-parents = <&clk IMX8MQ_SYS1_PLL_80M>;
	uart-has-rtscts;
	status = "okay";
};

&uart4 {
	pinctrl-names = "default";
	pinctrl-0 = <&pinctrl_uart4>;
	assigned-clocks = <&clk IMX8MQ_CLK_UART4>;
	assigned-clock-parents = <&clk IMX8MQ_CLK_25M>;
	status = "okay";
};

&usb3_phy0 {
	status = "okay";
	vbus-supply = <&reg_vref_5v>;
};

&usb_dwc3_0 {
	dr_mode = "otg";
	pinctrl-names = "default";
	pinctrl-0 = <&pinctrl_usb3_0>;
	status = "okay";
	vbus-supply = <&reg_usb_otg_vbus>;
};

&usb3_phy1 {
	status = "okay";
	vbus-supply = <&reg_vref_5v>;
};

&usb_dwc3_1 {
	dr_mode = "host";
	pinctrl-names = "default";
	pinctrl-0 = <&pinctrl_usb3_1>;
	reset-gpios = GP_USB3_1_HUB_RESET;
	status = "okay";
	vbus-supply = <&reg_vref_5v>;
};

&usdhc1 {
	bus-width = <8>;
	fsl,strobe-dll-delay-target = <5>;
	fsl,tuning-start-tap = <63>;
	fsl,tuning-step = <2>;
	no-mmc-hs400;
	non-removable;
	pinctrl-names = "default", "state_100mhz", "state_200mhz";
	pinctrl-0 = <&pinctrl_usdhc1>;
	pinctrl-1 = <&pinctrl_usdhc1_100mhz>;
	pinctrl-2 = <&pinctrl_usdhc1_200mhz>;
	status = "okay";
	vmmc-supply = <&reg_vref_1v8>;
	vqmmc-1-8-v;
};

&usdhc2 {
	bus-width = <4>;
	fsl,sdio-async-interrupt-enabled;
	fsl,tuning-start-tap = <70>;
	fsl,tuning-step = <2>;
	keep-power-in-suspend;
	no-sd-uhs-sdr104;
	non-removable;
	pinctrl-names = "default", "state_100mhz", "state_200mhz";
	pinctrl-0 = <&pinctrl_usdhc2>;
	pinctrl-1 = <&pinctrl_usdhc2_100mhz>;
	pinctrl-2 = <&pinctrl_usdhc2_200mhz>;
	pm-ignore-notify;
	status = "okay";
	tuning-delay = <32>;
	tuning-mode = <1>;
	vmmc-supply = <&reg_wlan_vmmc>;
	vqmmc-1-8-v;
	vqmmc-supply = <&reg_vref_1v8>;
};

&vpu {
	power-domains = <&pgc_vpu>;
	regulator-supply = <&reg_vref_0v9>;
	status = "okay";
};

&vpu_v4l2 {
	status = "okay";
};

&wdog1 {
	pinctrl-names = "default";
	pinctrl-0 = <&pinctrl_wdog>;
	fsl,ext-reset-output;
	status = "okay";
};
